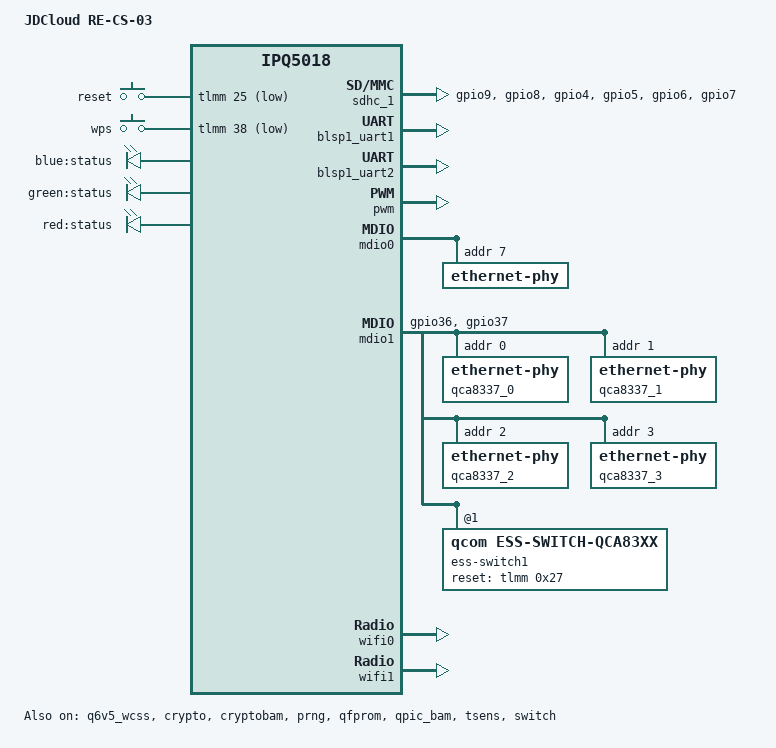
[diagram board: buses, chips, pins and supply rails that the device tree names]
/dts-v1/;

#include "ipq5018.dtsi"
#include "ipq5018-ess.dtsi"

#include <dt-bindings/gpio/gpio.h>
#include <dt-bindings/input/input.h>
#include <dt-bindings/leds/common.h>

/ {
	model = "JDCloud RE-CS-03";
	compatible = "jdcloud,re-cs-03", "qcom,ipq5018";

	aliases {
		led-boot = &led_blue;
		led-failsafe = &led_red;
		led-running = &led_green;
		led-upgrade = &led_red;
		serial0 = &blsp1_uart1;
		serial0 = &blsp1_uart2;
		sdhc1 = &sdhc_1;
	};

	keys {
		compatible = "gpio-keys";
		pinctrl-0 = <&button_pins>;
		pinctrl-names = "default";

		reset {
			label = "reset";
			linux,code = <KEY_RESTART>;
			gpios = <&tlmm 25 GPIO_ACTIVE_LOW>;
			linux,input-type = <1>;
			debounce-interval = <60>;
		};

		wps {
			label = "wps";
			linux,code = <KEY_WPS_BUTTON>;
			gpios = <&tlmm 38 GPIO_ACTIVE_LOW>;
			linux,input-type = <1>;
			debounce-interval = <60>;
		};
	};

	leds {
		compatible = "gpio-leds";
		pinctrl-0 = <&leds_pins>;
		pinctrl-names = "default";

		led_blue: led-blue {
			label = "blue:status";
			gpio = <&tlmm 31 GPIO_ACTIVE_HIGH>;
		};

		led_green: led-green {
			label = "green:status";
			gpio = <&tlmm 32 GPIO_ACTIVE_HIGH>;
		};

		led_red: led-red {
			label = "red:status";
			gpio = <&tlmm 33 GPIO_ACTIVE_HIGH>;
		};
	};
};

&sdhc_1 {
	status = "okay";
	pinctrl-0 = <&emmc_pins>;
	pinctrl-names = "default";
};

&q6v5_wcss {
	status = "okay";
	boot-args = <0x2 0x4 0x2 0xf 0x0 0x0>;
};

&blsp1_uart1 {
	status = "okay";
};

&blsp1_uart2 {
	status = "okay";
};

&crypto {
	status = "okay";
};

&cryptobam {
	status = "okay";
};

&prng {
	status = "okay";
};

&pwm {
	status = "okay";
};

&qfprom {
	status = "okay";
};

&qpic_bam {
	status = "okay";
};

&tsens {
	status = "okay";
};

&tlmm {
	button_pins: button_pins {
		mux {
			pins = "gpio25", "gpio38";
			function = "gpio";
			drive-strength = <8>;
			bias-pull-up;
		};
	};

	leds_pins: leds_pins {
		mux {
			pins = "gpio31", "gpio32", "gpio33";
			function = "gpio";
			drive-strength = <8>;
			bias-pull-down;
			output-low;
		};
	};

	mdio1_pins: mdio_pinmux {
		mdc-pins {
			pins = "gpio36";
			function = "mdc";
			drive-strength = <8>;
			bias-pull-up;
		};

		mdio-pins {
			pins = "gpio37";
			function = "mdio";
			drive-strength = <8>;
			bias-pull-up;
		};
	};

	emmc_pins: emmc_pins {
		emmc_clk {
			pins = "gpio9";
			function = "sdc1_clk";
			drive-strength = <8>;
			bias-disable;
		};

		emmc_cmd {
			pins = "gpio8";
			function = "sdc1_cmd";
			drive-strength = <8>;
			bias-pull-up;
		};

		emmc_data {
			pins = "gpio4", "gpio5", "gpio6", "gpio7";
			function = "sdc1_data";
			drive-strength = <8>;
			bias-disable;
		};
	};
};

&switch {
	status = "okay";

	compatible = "qcom,ess-switch-ipq50xx";
	device_id = <0>;
	switch_mac_mode = <MAC_MODE_SGMII_PLUS>; /* mac mode for uniphy instance*/
	cmnblk_clk = "internal_96MHz"; /* cmnblk clk*/
	qcom,port_phyinfo {
		port@0 {
			port_id = <1>;
			phy_address = <7>;
			phy_dac = <0x10 0x10>;
			mdiobus = <&mdio0>;
		};

		port@1 {
			port_id = <2>;
			forced-speed = <1000>;
			forced-duplex = <1>;
		};
	};
};

&mdio0 {
	status = "okay";

	ethernet-phy@0 {
		reg = <0x07>;
	};
};

&mdio1 {
	status = "okay";

	pinctrl-0 = <&mdio1_pins>;
	pinctrl-names = "default";
	phy-reset-gpio = <&tlmm 39 0>;

	qca8337_0: ethernet-phy@0 {
		reg = <0>;
	};

	qca8337_1: ethernet-phy@1 {
		reg = <1>;
	};

	qca8337_2: ethernet-phy@2 {
		reg = <2>;
	};

	qca8337_3: ethernet-phy@3 {
		reg = <3>;
	};

	ess-switch1@1 {
		compatible = "qcom,ess-switch-qca83xx";
		device_id = <1>;
		switch_access_mode = "mdio";
		mdio-bus = <&mdio1>;
		reset_gpio = <&tlmm 0x27 0>;
		switch_cpu_bmp = <0x40>;  /* cpu port bitmap */
		switch_lan_bmp = <0x1e>; /* lan port bitmap */
		switch_wan_bmp = <0x0>;  /* wan port bitmap */
		qca,ar8327-initvals = <
				0x00004 0x7600000   /* PAD0_MODE */
				0x00008 0x1000000   /* PAD5_MODE */
				0x0000c 0x80        /* PAD6_MODE */
				0x00010 0x2613a0    /* PORT6 FORCE MODE*/
				0x000e4 0xaa545     /* MAC_POWER_SEL */
				0x000e0 0xc74164de  /* SGMII_CTRL */
				0x0007c 0x4e        /* PORT0_STATUS */
				0x00094 0x4e        /* PORT6_STATUS */
		>;
		qcom,port_phyinfo {
			port@0 {
				port_id = <1>;
				phy_address = <0>;
			};

			port@1 {
				port_id = <2>;
				phy_address = <1>;
			};

			port@2 {
				port_id = <3>;
				phy_address = <2>;
			};

			port@3 {
				port_id = <4>;
				phy_address = <3>;
			};
		};
	};
};

&wifi0 {
	/* IPQ5018 */
	qcom,ath11k-calibration-variant = "JDC-RE-CS-03";
	qcom,ath11k-fw-memory-mode = <1>;
	status = "okay";
};

&wifi1 {
	/* QCN6122 5G */
	qcom,ath11k-calibration-variant = "JDC-RE-CS-03";
	qcom,ath11k-fw-memory-mode = <1>;
	status = "okay";
};

&wifi2 {
	/* QCN6122 6G */
	status = "disabled";
};
